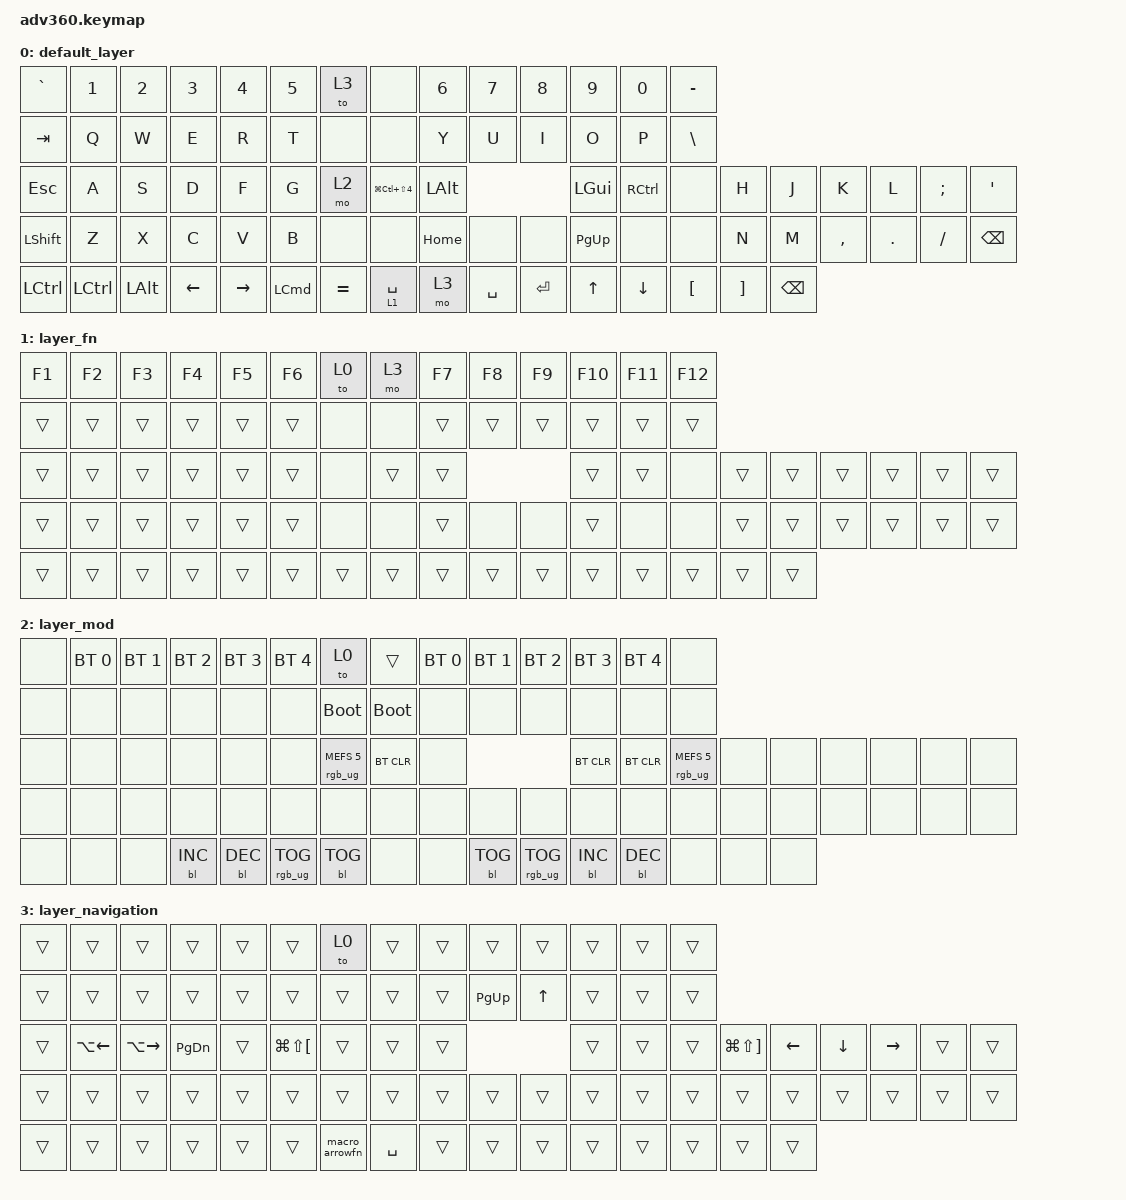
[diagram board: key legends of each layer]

/*
 * Copyright (c) 2020 The ZMK Contributors
 *
 * SPDX-License-Identifier: MIT
 */


/* THIS FILE WAS GENERATED!
 *
 * This file was generated automatically. You may or may not want to
 * edit it directly.
 */

#include <behaviors.dtsi>
#include <dt-bindings/zmk/keys.h>
#include <dt-bindings/zmk/bt.h>
#include <dt-bindings/zmk/rgb.h>
#include <dt-bindings/zmk/backlight.h>

/ {
  behaviors {
    #include "macros.dtsi"

    hm: homerow_mods {
        compatible = "zmk,behavior-hold-tap";
        label = "HOMEROW_MODS";
        #binding-cells = <2>;
        tapping-term-ms = <200>;
        quick_tap_ms = <175>;
        flavor = "tap-preferred";
        bindings = <&kp>, <&kp>;
    };
  };

    keymap {
        compatible = "zmk,keymap";


        default_layer {
            bindings = <
 &kp GRAVE     &kp N1        &kp N2    &kp N3     &kp N4            &kp N5                &to 3                     &none    &kp N6     &kp N7     &kp N8     &kp N9     &kp N0  &kp MINUS
   &kp TAB      &kp Q         &kp W     &kp E      &kp R             &kp T                &none                     &none     &kp Y      &kp U      &kp I      &kp O      &kp P   &kp BSLH
   &kp ESC      &kp A         &kp S     &kp D      &kp F             &kp G                &mo 2  &kp LG(LC(LS(NUMBER_4)))  &kp LALT                         &kp LGUI  &kp RCTRL      &none     &kp H          &kp J      &kp K    &kp L  &kp SEMI        &kp SQT
 &kp LSHFT      &kp Z         &kp X     &kp C      &kp V             &kp B                &none                     &none  &kp HOME      &none      &none  &kp PG_UP      &none      &none     &kp N          &kp M  &kp COMMA  &kp DOT  &kp FSLH  &kp BACKSPACE
 &kp LCTRL  &kp LCTRL  &kp LEFT_ALT  &kp LEFT  &kp RIGHT  &kp LEFT_COMMAND            &kp EQUAL               &lt 1 SPACE     &mo 3  &kp SPACE  &kp ENTER     &kp UP   &kp DOWN   &kp LBKT  &kp RBKT  &kp BACKSPACE
            >;
        };

        layer_fn {
            bindings = <
 &kp F1  &kp F2  &kp F3  &kp F4  &kp F5  &kp F6             &to 0   &mo 3  &kp F7  &kp F8  &kp F9  &kp F10  &kp F11  &kp F12
 &trans  &trans  &trans  &trans  &trans  &trans             &none   &none  &trans  &trans  &trans   &trans   &trans   &trans
 &trans  &trans  &trans  &trans  &trans  &trans             &none  &trans  &trans                   &trans   &trans    &none  &trans  &trans  &trans  &trans  &trans  &trans
 &trans  &trans  &trans  &trans  &trans  &trans             &none   &none  &trans   &none   &none   &trans    &none    &none  &trans  &trans  &trans  &trans  &trans  &trans
 &trans  &trans  &trans  &trans  &trans  &trans            &trans  &trans  &trans  &trans  &trans   &trans   &trans   &trans  &trans  &trans
            >;
        };

        layer_mod {
            bindings = <
  &none  &bt BT_SEL 0  &bt BT_SEL 1  &bt BT_SEL 2  &bt BT_SEL 3     &bt BT_SEL 4                             &to 0       &trans  &bt BT_SEL 0  &bt BT_SEL 1     &bt BT_SEL 2  &bt BT_SEL 3  &bt BT_SEL 4                   &none
  &none         &none         &none         &none         &none            &none                       &bootloader  &bootloader         &none         &none            &none         &none         &none                   &none
  &none         &none         &none         &none         &none            &none            &rgb_ug RGB_MEFS_CMD 5   &bt BT_CLR         &none                                   &bt BT_CLR    &bt BT_CLR  &rgb_ug RGB_MEFS_CMD 5   &none   &none   &none   &none   &none   &none
  &none         &none         &none         &none         &none            &none                             &none        &none         &none         &none            &none         &none         &none                   &none   &none   &none   &none   &none   &none   &none
  &none         &none         &none    &bl BL_INC    &bl BL_DEC  &rgb_ug RGB_TOG                        &bl BL_TOG        &none         &none    &bl BL_TOG  &rgb_ug RGB_TOG    &bl BL_INC    &bl BL_DEC                   &none   &none   &none
            >;
        };

        layer_navigation {
            bindings = <
 &trans              &trans               &trans         &trans  &trans                    &trans                     &to 0     &trans  &trans       &trans        &trans  &trans  &trans  &trans
 &trans              &trans               &trans         &trans  &trans                    &trans                    &trans     &trans  &trans  &kp PAGE_UP  &kp UP_ARROW  &trans  &trans  &trans
 &trans  &kp LA(LEFT_ARROW)  &kp LA(RIGHT_ARROW)  &kp PAGE_DOWN  &trans  &kp LG(LS(LEFT_BRACKET))                    &trans     &trans  &trans                             &trans  &trans  &trans  &kp LG(LS(RIGHT_BRACKET))  &kp LEFT  &kp DOWN_ARROW  &kp RIGHT  &trans  &trans
 &trans              &trans               &trans         &trans  &trans                    &trans                    &trans     &trans  &trans       &trans        &trans  &trans  &trans  &trans                     &trans    &trans          &trans     &trans  &trans  &trans
 &trans              &trans               &trans         &trans  &trans                    &trans            &macro_arrowfn  &kp SPACE  &trans       &trans        &trans  &trans  &trans  &trans                     &trans    &trans
            >;
        };

    };
};
